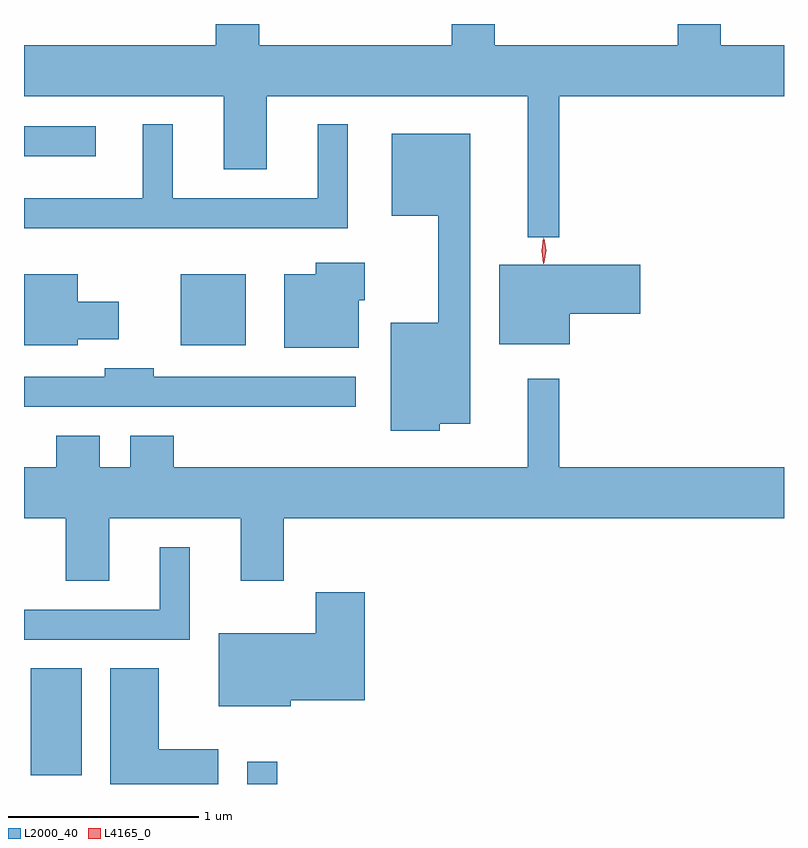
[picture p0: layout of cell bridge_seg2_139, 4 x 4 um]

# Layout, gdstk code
import gdstk
lib = gdstk.Library(unit=1e-6, precision=1e-09)
def R(c, l, rs):  # rectangles x0, y0, x1, y1
    for r in rs: c.add(gdstk.rectangle(r[:2], r[2:], *l))
def P(c, l, *ps):  # polygons
    for p in ps: c.add(gdstk.Polygon(p, *l))
L2000_40 = (2000, 40)
L4165_0 = (4165, 0)

bridge_seg2_139 = lib.new_cell('bridge_seg2_139')
R(bridge_seg2_139, L2000_40, [(984.136,1049.136,984.294,1049.253), (982.996,1049.181,983.264,1049.744), (983.786,1051.446,984.129,1051.819), (982.961,1052.441,983.338,1052.599)])
P(bridge_seg2_139, L2000_40, [(985.779,1052.756),(986.961,1052.756),(986.961,1053.024),(986.629,1053.024),(986.629,1053.136),(986.401,1053.136),(986.401,1053.024),(985.439,1053.024),(985.439,1053.136),(985.211,1053.136),(985.211,1053.024),(984.199,1053.024),(984.199,1053.136),(983.971,1053.136),(983.971,1053.024),(982.961,1053.024),(982.961,1052.756),(984.011,1052.756),(984.011,1052.371),(984.239,1052.371),(984.239,1052.756),(985.611,1052.756),(985.611,1052.013),(985.779,1052.013)],
  [(984.664,1052.608),(984.506,1052.608),(984.506,1052.219),(983.744,1052.219),(983.744,1052.608),(983.586,1052.608),(983.586,1052.219),(982.961,1052.219),(982.961,1052.061),(984.664,1052.061)],
  [(985.149,1051.031),(985.309,1051.031),(985.309,1052.559),(984.896,1052.559),(984.896,1052.126),(985.141,1052.126),(985.141,1051.564),(984.891,1051.564),(984.891,1050.996),(985.149,1050.996)],
  [(984.724,1051.681),(984.754,1051.681),(984.754,1051.879),(984.496,1051.879),(984.496,1051.819),(984.331,1051.819),(984.331,1051.431),(984.724,1051.431)],
  [(985.834,1051.611),(986.204,1051.611),(986.204,1051.869),(985.461,1051.869),(985.461,1051.451),(985.834,1051.451)],
  [(983.244,1051.476),(983.459,1051.476),(983.459,1051.674),(983.244,1051.674),(983.244,1051.819),(982.961,1051.819),(982.961,1051.446),(983.244,1051.446)],
  [(984.708,1051.279),(983.644,1051.279),(983.644,1051.324),(983.386,1051.324),(983.386,1051.279),(982.961,1051.279),(982.961,1051.121),(984.708,1051.121)],
  [(983.409,1050.536),(984.101,1050.536),(984.101,1050.206),(984.329,1050.206),(984.329,1050.536),(986.961,1050.536),(986.961,1050.804),(985.779,1050.804),(985.779,1051.268),(985.611,1051.268),(985.611,1050.804),(983.749,1050.804),(983.749,1050.969),(983.521,1050.969),(983.521,1050.804),(983.359,1050.804),(983.359,1050.969),(983.131,1050.969),(983.131,1050.804),(982.961,1050.804),(982.961,1050.536),(983.181,1050.536),(983.181,1050.206),(983.409,1050.206)],
  [(983.834,1050.383),(983.676,1050.383),(983.676,1050.054),(982.961,1050.054),(982.961,1049.896),(983.834,1049.896)],
  [(984.364,1049.576),(984.754,1049.576),(984.754,1050.144),(984.496,1050.144),(984.496,1049.929),(983.986,1049.929),(983.986,1049.546),(984.364,1049.546)],
  [(983.984,1049.319),(983.669,1049.319),(983.669,1049.744),(983.416,1049.744),(983.416,1049.136),(983.984,1049.136)])
P(bridge_seg2_139, L4165_0, [(985.695,1051.874),(985.685,1051.942),(985.694,1052.01),(985.695,1052.01),(985.695,1052.01),(985.705,1051.942),(985.696,1051.874),(985.696,1051.874)],
  [(985.698,1051.88),(985.689,1051.944),(985.698,1052.006),(985.698,1052.007),(985.699,1052.006),(985.709,1051.944),(985.7,1051.88),(985.699,1051.88)])

lib.write_gds('bridge_seg2_139.gds')
